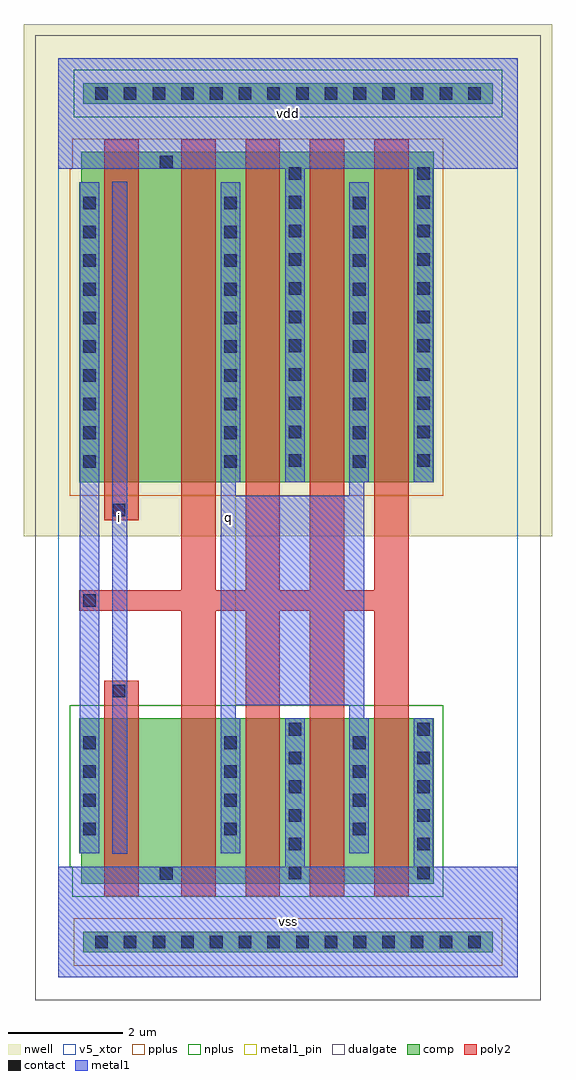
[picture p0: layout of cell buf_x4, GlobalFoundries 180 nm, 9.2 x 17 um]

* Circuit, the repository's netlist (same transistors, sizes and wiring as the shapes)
* buf_x4
.subckt buf_x4 vdd vss i q
Mn1 ni i vss vss nfet_06v0 l=0.6um w=2.88um
Mn2_0 vss ni q vss nfet_06v0 l=0.6um w=2.88um
Mn2_1 q ni vss vss nfet_06v0 l=0.6um w=2.88um
Mn2_2 vss ni q vss nfet_06v0 l=0.6um w=2.88um
Mn2_3 q ni vss vss nfet_06v0 l=0.6um w=2.88um
Mp1 ni i vdd vdd pfet_06v0 l=0.6um w=5.76um
Mp2_0 vdd ni q vdd pfet_06v0 l=0.6um w=5.76um
Mp2_1 q ni vdd vdd pfet_06v0 l=0.6um w=5.76um
Mp2_2 vdd ni q vdd pfet_06v0 l=0.6um w=5.76um
Mp2_3 q ni vdd vdd pfet_06v0 l=0.6um w=5.76um
.ends buf_x4

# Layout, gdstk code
import gdstk
lib = gdstk.Library(unit=1e-6, precision=1e-09)
def R(c, l, rs):  # rectangles x0, y0, x1, y1
    for r in rs: c.add(gdstk.rectangle(r[:2], r[2:], *l))
def A(c, l, x, y, w, h, nx, ny, dx, dy):  # array of equal rectangles
    R(c, l, [(x+i*dx, y+j*dy, x+i*dx+w, y+j*dy+h) for i in range(nx) for j in range(ny)])
def P(c, l, *ps):  # polygons
    for p in ps: c.add(gdstk.Polygon(p, *l))
nwell = (21, 0)
comp = (22, 0)
poly2 = (30, 0)
pplus = (31, 0)
nplus = (32, 0)
contact = (33, 0)
metal1 = (34, 0)
metal1_pin = (34, 10)
dualgate = (55, 0)
v5_xtor = (112, 1)

buf_x4 = lib.new_cell('buf_x4')
R(buf_x4, nwell, [(-0.6,7.68,8.6,16.6)])
R(buf_x4, comp, [(0.43,0.43,7.57,0.79), (0.43,15.21,7.57,15.57)])
P(buf_x4, comp, [(0.36,8.615),(0.36,13.845),(0.4,13.845),(0.4,14.375),(6.54,14.375),(6.54,8.615)],
  [(0.4,1.625),(0.4,2.155),(0.36,2.155),(0.36,4.505),(6.54,4.505),(6.54,1.625)])
R(buf_x4, poly2, [(0.8,1.405,1.4,5.165), (0.8,7.955,1.4,14.595)])
P(buf_x4, poly2, [(2.14,1.405),(2.14,6.38),(0.36,6.38),(0.36,6.74),(2.14,6.74),(2.14,14.595),(2.74,14.595),(2.74,6.74),(3.26,6.74),(3.26,14.595),(3.86,14.595),(3.86,6.74),(4.38,6.74),(4.38,14.595),(4.98,14.595),(4.98,6.74),(5.5,6.74),(5.5,14.595),(6.1,14.595),(6.1,1.405),(5.5,1.405),(5.5,6.38),(4.98,6.38),(4.98,1.405),(4.38,1.405),(4.38,6.38),(3.86,6.38),(3.86,1.405),(3.26,1.405),(3.26,6.38),(2.74,6.38),(2.74,1.405)])
R(buf_x4, pplus, [(0.27,0.2,7.73,1.02)])
P(buf_x4, pplus, [(0.2,8.385),(0.2,14.075),(0.24,14.075),(0.24,14.605),(6.7,14.605),(6.7,8.385)])
R(buf_x4, nplus, [(0.27,14.98,7.73,15.8)])
P(buf_x4, nplus, [(0.24,1.395),(0.24,1.925),(0.2,1.925),(0.2,4.735),(6.7,4.735),(6.7,1.395)])
A(buf_x4, contact, 0.64, 0.5, 0.22, 0.22, 14, 2, 0.5, 14.78)
A(buf_x4, contact, 4.01, 1.705, 0.22, 0.22, 1, 6, 0, 0.5)
A(buf_x4, contact, 6.25, 1.705, 0.22, 0.22, 1, 6, 0, 0.5)
A(buf_x4, contact, 0.43, 2.47, 0.22, 0.22, 1, 4, 0, 0.5)
A(buf_x4, contact, 2.89, 2.47, 0.22, 0.22, 1, 4, 0, 0.5)
A(buf_x4, contact, 5.13, 2.47, 0.22, 0.22, 1, 4, 0, 0.5)
A(buf_x4, contact, 0.43, 8.87, 0.22, 0.22, 1, 10, 0, 0.5)
A(buf_x4, contact, 2.89, 8.87, 0.22, 0.22, 1, 10, 0, 0.5)
A(buf_x4, contact, 5.13, 8.87, 0.22, 0.22, 1, 10, 0, 0.5)
A(buf_x4, contact, 4.01, 8.885, 0.22, 0.22, 1, 11, 0, 0.5)
A(buf_x4, contact, 6.25, 8.885, 0.22, 0.22, 1, 11, 0, 0.5)
R(buf_x4, contact, [(1.77,1.695,1.99,1.915), (0.945,4.875,1.165,5.095), (0.43,6.45,0.65,6.67), (0.945,8.025,1.165,8.245), (1.77,14.085,1.99,14.305)])
R(buf_x4, metal1, [(0.94,2.15,1.2,13.85), (0.37,2.155,0.71,13.845)])
P(buf_x4, metal1, [(3.95,8.615),(3.95,14.08),(0,14.08),(0,16),(8,16),(8,14.08),(6.53,14.08),(6.53,8.615),(6.19,8.615),(6.19,14.08),(4.29,14.08),(4.29,8.615)],
  [(0,0),(0,1.92),(3.95,1.92),(3.95,4.505),(4.29,4.505),(4.29,1.92),(6.19,1.92),(6.19,4.505),(6.53,4.505),(6.53,1.92),(8,1.92),(8,0)],
  [(2.83,2.155),(2.83,13.845),(3.17,13.845),(3.17,8.615),(3.09,8.615),(3.09,8.385),(5.07,8.385),(5.07,13.845),(5.41,13.845),(5.41,8.615),(5.33,8.615),(5.33,4.505),(5.41,4.505),(5.41,2.155),(5.07,2.155),(5.07,4.735),(3.09,4.735),(3.09,4.505),(3.17,4.505),(3.17,2.155)])
R(buf_x4, metal1_pin, [(0,0,8,1.92), (0.94,2.15,1.2,13.85), (2.83,2.155,3.09,13.845), (0,14.08,8,16)])
R(buf_x4, dualgate, [(-0.4,-0.4,8.4,16.4)])
R(buf_x4, v5_xtor, [(-0.005,-0.005,8.005,16.005)])
buf_x4.add(gdstk.Label('vdd', (4,15.04), layer=34, texttype=10))
buf_x4.add(gdstk.Label('vss', (4,0.96), layer=34, texttype=10))
buf_x4.add(gdstk.Label('i', (1.07,8), layer=34, texttype=10))
buf_x4.add(gdstk.Label('q', (2.96,8), layer=34, texttype=10))

lib.write_gds('buf_x4.gds')
